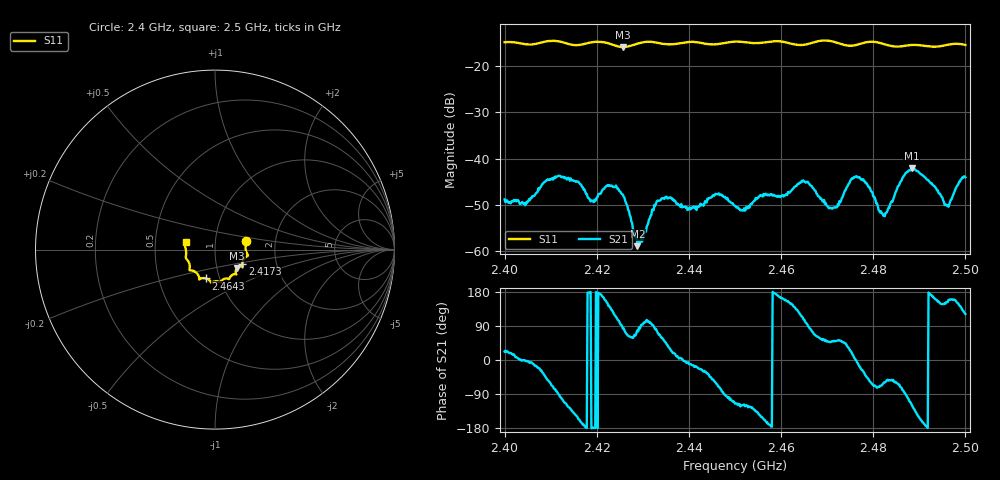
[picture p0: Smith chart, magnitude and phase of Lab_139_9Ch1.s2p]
# Hz S RI R 50
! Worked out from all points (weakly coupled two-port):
!   601 points, 2.4 GHz to 2.5 GHz, reference 50 ohm
!   highest |S21| = -42.10 dB at 2.4883 GHz (marker M1); lowest = -58.9 dB at 2.4288 GHz (marker M2)
!   lowest |S11| = -15.9 dB at 2.4257 GHz (marker M3), VSWR 1.38, Z = 62.4 - j13.1 ohm
!   |S11| at or under -10 dB: start of sweep to end of sweep
!   S12 and S22 are empty: the file has one direction only
!   S11 on the Smith chart (normalised r, x): 2.4 GHz: 1.41, +0.15; 2.4173 GHz: 1.34, -0.23; 2.4643 GHz: 0.86, -0.28; 2.5 GHz: 0.72, +0.06
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2.4e9  0.1732 0.05  0.00337 0.00137  0 0  0 0
2.404667e9  0.1704 0.0174  0.00338 -0.000166  0 0  0 0
2.4115e9  0.1816 -0.0355  0.000405 -0.00646  0 0  0 0
2.416667e9  0.1527 -0.0748  -0.005 -0.00134  0 0  0 0
2.417333e9  0.152 -0.0821  -0.00463 -0.000467  0 0  0 0
2.419167e9  0.1538 -0.0954  -0.00347 -9.03e-05  0 0  0 0
2.4225e9  0.1486 -0.0933  -0.0041 0.00307  0 0  0 0
2.425667e9  0.1227 -0.1026  0.000506 0.00407  0 0  0 0
2.428833e9  0.1158 -0.1302  0.000228 0.00112  0 0  0 0
2.433333e9  0.1126 -0.1368  0.00124 0.00329  0 0  0 0
2.440167e9  0.0796 -0.1635  0.00293 -0.000599  0 0  0 0
2.446167e9  0.0465 -0.1656  0.00175 -0.00377  0 0  0 0
2.45e9  0.0295 -0.1809  -0.00132 -0.0028  0 0  0 0
2.464333e9  -0.0501 -0.1606  -0.00252 0.00497  0 0  0 0
2.466667e9  -0.0762 -0.16  0.0012 0.00491  0 0  0 0
2.4715e9  -0.0873 -0.1599  0.00188 0.00228  0 0  0 0
2.476667e9  -0.1234 -0.1173  0.00629 -0.00101  0 0  0 0
2.481667e9  -0.1414 -0.105  0.00103 -0.00251  0 0  0 0
2.483333e9  -0.1407 -0.0896  0.00173 -0.00242  0 0  0 0
2.488333e9  -0.1612 -0.0492  -0.00368 -0.00694  0 0  0 0
2.496e9  -0.1673 0.0195  -0.00277 0.00141  0 0  0 0
2.5e9  -0.1634 0.0419  -0.00329 0.00538  0 0  0 0
